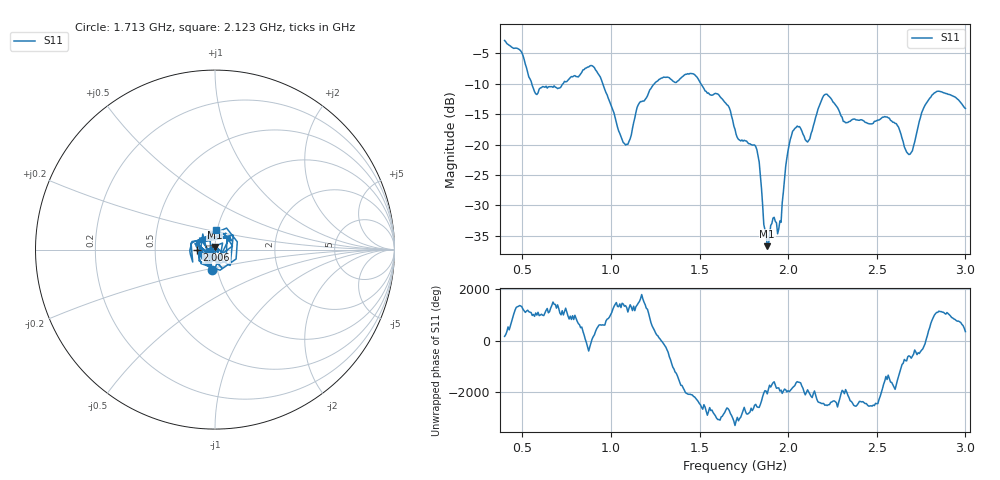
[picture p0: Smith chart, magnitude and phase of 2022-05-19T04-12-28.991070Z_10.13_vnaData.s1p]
!Created with skrf (http://scikit-rf.org).
# Hz S RI R 50.0
!freq ReS11 ImS11
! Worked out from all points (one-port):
!   401 points, 400 MHz to 3 GHz, reference 50 ohm
!   lowest |S11| = -36.7 dB at 1.882 GHz (marker M1), VSWR 1.03, Z = 49.9 + j1.45 ohm
!   |S11| at or under -10 dB: 553.4 MHz to 729.1 MHz (175.6 MHz wide, 27.4 % of centre); 953.9 MHz to 1.245 GHz (290.9 MHz wide, 26.5 % of centre); 1.508 GHz to end of sweep
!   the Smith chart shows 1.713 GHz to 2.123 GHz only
!   S11 on the Smith chart (normalised r, x): 1.713 GHz: 0.94, -0.21; 2.006 GHz: 0.82, -0.00; 2.123 GHz: 0.98, +0.22
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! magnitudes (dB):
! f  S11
! 400 MHz  -2.9
! 491 MHz  -4.6
! 575.5 MHz  -11.6
! 725 MHz  -10.1
! 900.5 MHz  -7.2
! 1.05 GHz  -18.2
! 1.095 GHz  -20.0
! 1.154 GHz  -13.5
! 1.258 GHz  -9.6
! 1.375 GHz  -9.6
! 1.472 GHz  -8.5
! 1.655 GHz  -13.4
! 1.7 GHz  -17.5
! 1.713 GHz  -18.8
! 1.823 GHz  -20.9
! 1.869 GHz  -34.0
! 1.882 GHz  -36.7
! 1.915 GHz  -32.1
! 1.954 GHz  -32.6
! 2.006 GHz  -20.0
! 2.025 GHz  -17.8
! 2.123 GHz  -19.0
! 2.207 GHz  -11.8
! 2.35 GHz  -16.2
! 2.558 GHz  -15.5
! 2.675 GHz  -21.5
! 2.825 GHz  -11.5
! 3 GHz  -14.1
